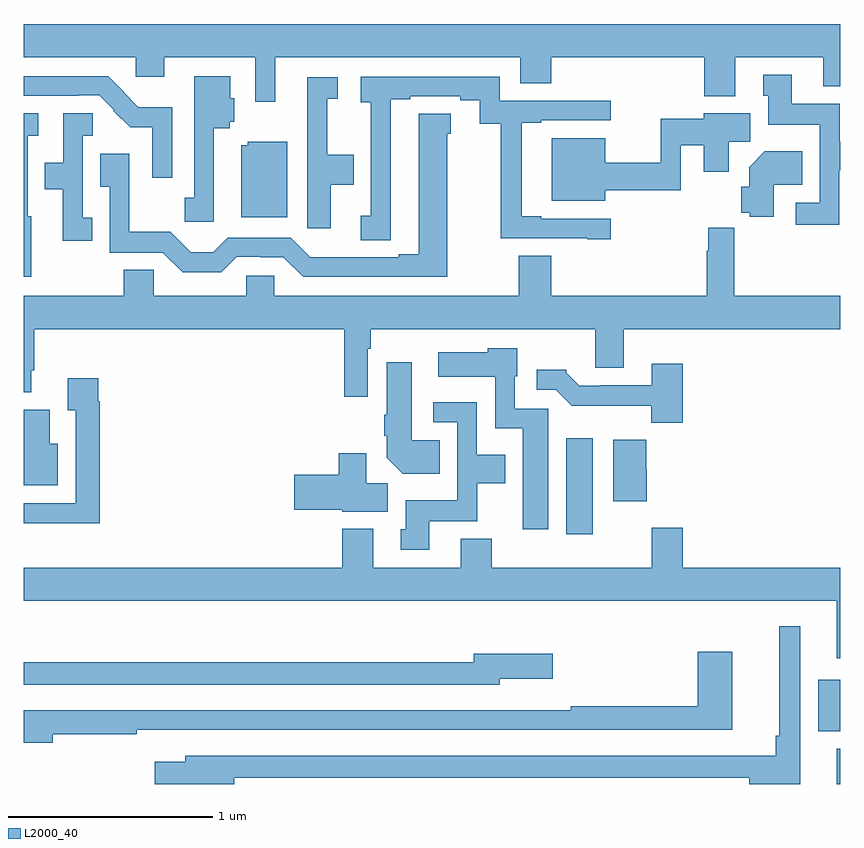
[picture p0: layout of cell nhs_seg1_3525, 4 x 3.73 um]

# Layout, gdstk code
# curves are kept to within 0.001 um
import gdstk
lib = gdstk.Library(unit=1e-6, precision=1e-09)
def R(c, l, rs):  # rectangles x0, y0, x1, y1
    for r in rs: c.add(gdstk.rectangle(r[:2], r[2:], *l))
def P(c, l, *ps):  # polygons
    for p in ps: c.add(gdstk.Polygon(p, *l))
L2000_40 = (2000, 40)

nhs_seg1_3525 = lib.new_cell('nhs_seg1_3525')
R(nhs_seg1_3525, L2000_40, [(306.983,520.199,307,520.372), (306.893,520.457,307,520.711), (305.657,521.424,305.788,521.893)])
P(nhs_seg1_3525, L2000_40, [(304.231,523.76),(305.432,523.76),(305.432,523.633),(305.585,523.633),(305.585,523.76),(306.335,523.76),(306.335,523.571),(306.487,523.571),(306.487,523.76),(306.917,523.76),(306.917,523.619),(307,523.619),(307,523.924),(303,523.924),(303,523.76),(303.549,523.76),(303.549,523.665),(303.688,523.665),(303.688,523.76),(304.134,523.76),(304.134,523.542),(304.231,523.542)],
  [(306.996,523.208),(307,523.208),(307,523.348),(306.999,523.348),(306.999,523.534),(306.763,523.534),(306.763,523.675),(306.623,523.675),(306.623,523.572),(306.647,523.572),(306.647,523.43),(306.9,523.43),(306.9,523.047),(306.783,523.047),(306.783,522.939),(306.996,522.939)],
  [(303.931,523.412),(304.008,523.412),(304.008,523.446),(304.03,523.446),(304.03,523.56),(304.012,523.56),(304.012,523.669),(303.834,523.669),(303.834,523.073),(303.789,523.073),(303.789,522.954),(303.931,522.954)],
  [(303.726,523.516),(303.561,523.516),(303.488,523.589),(303.49,523.591),(303.412,523.668),(303,523.668),(303,523.572),(303.269,523.572),(303.269,523.575),(303.369,523.575),(303.441,523.503),(303.438,523.5),(303.521,523.418),(303.63,523.418),(303.63,523.17),(303.726,523.17)],
  [(304.797,522.973),(304.798,522.973),(304.798,523.554),(304.894,523.554),(304.894,523.569),(305.138,523.569),(305.138,523.551),(305.234,523.551),(305.234,523.436),(305.338,523.436),(305.338,522.873),(305.762,522.873),(305.762,522.868),(305.875,522.868),(305.875,522.969),(305.536,522.969),(305.536,522.982),(305.44,522.982),(305.44,523.44),(305.536,523.44),(305.536,523.452),(305.875,523.452),(305.875,523.548),(305.331,523.548),(305.331,523.665),(304.65,523.665),(304.65,523.541),(304.701,523.541),(304.701,522.984),(304.65,522.984),(304.65,522.865),(304.797,522.865)],
  [(304.504,523.135),(304.616,523.135),(304.616,523.282),(304.487,523.282),(304.487,523.557),(304.537,523.557),(304.537,523.663),(304.388,523.663),(304.388,522.924),(304.504,522.924)],
  [(303.335,522.974),(303.288,522.974),(303.288,523.376),(303.337,523.376),(303.337,523.487),(303.192,523.487),(303.192,523.243),(303.103,523.243),(303.103,523.114),(303.191,523.114),(303.191,522.861),(303.335,522.861)],
  [(303.037,522.981),(303.018,522.981),(303.018,523.376),(303.07,523.376),(303.07,523.487),(303,523.487),(303,522.684),(303.037,522.684)],
  [(305.848,523.108),(306.219,523.108),(306.219,523.33),(306.332,523.33),(306.332,523.2),(306.454,523.2),(306.454,523.348),(306.559,523.348),(306.559,523.486),(306.332,523.486),(306.332,523.459),(306.121,523.459),(306.121,523.244),(305.848,523.244),(305.848,523.363),(305.588,523.363),(305.588,523.058),(305.848,523.058)],
  [(305.074,523.386),(305.092,523.386),(305.092,523.484),(304.935,523.484),(304.934,522.795),(304.838,522.795),(304.838,522.78),(304.403,522.781),(304.308,522.876),(303.999,522.876),(303.928,522.805),(303.818,522.805),(303.718,522.905),(303.516,522.905),(303.516,523.288),(303.373,523.288),(303.373,523.127),(303.42,523.127),(303.42,522.804),(303.681,522.804),(303.778,522.707),(303.968,522.707),(304.044,522.783),(304.157,522.783),(304.157,522.78),(304.272,522.78),(304.368,522.684),(305.074,522.684)],
  [(304.291,523.348),(304.098,523.348),(304.098,523.33),(304.064,523.33),(304.064,522.977),(304.291,522.977)],
  [(306.676,523.136),(306.815,523.136),(306.815,523.3),(306.632,523.3),(306.554,523.222),(306.554,523.126),(306.516,523.126),(306.516,522.998),(306.558,522.998),(306.558,522.979),(306.676,522.979)],
  [(305.585,522.788),(305.425,522.788),(305.425,522.592),(304.227,522.592),(304.227,522.69),(304.089,522.69),(304.089,522.592),(303.636,522.592),(303.636,522.719),(303.49,522.719),(303.49,522.592),(303,522.592),(303,522.119),(303.037,522.119),(303.037,522.226),(303.05,522.226),(303.05,522.428),(304.57,522.428),(304.57,522.096),(304.686,522.096),(304.686,522.332),(304.699,522.332),(304.699,522.428),(305.801,522.428),(305.801,522.238),(305.941,522.238),(305.941,522.428),(307,522.428),(307,522.592),(306.482,522.592),(306.482,522.812),(306.481,522.812),(306.481,522.925),(306.354,522.925),(306.354,522.812),(306.346,522.812),(306.346,522.592),(305.585,522.592)],
  [(305.569,522.039),(305.406,522.039),(305.406,522.198),(305.419,522.198),(305.419,522.334),(305.274,522.334),(305.274,522.316),(305.031,522.316),(305.031,522.194),(305.31,522.194),(305.31,521.942),(305.444,521.942),(305.444,521.448),(305.569,521.448)],
  [(305.039,521.884),(304.9,521.884),(304.9,522.265),(304.778,522.265),(304.778,522.008),(304.766,522.008),(304.766,521.905),(304.778,521.905),(304.778,521.798),(304.856,521.72),(305.039,521.72)],
  [(306.23,522.259),(306.077,522.259),(306.077,522.153),(305.821,522.153),(305.821,522.15),(305.722,522.15),(305.658,522.214),(305.658,522.229),(305.514,522.229),(305.514,522.132),(305.607,522.132),(305.686,522.054),(306.075,522.054),(306.075,521.969),(306.23,521.969)],
  [(303.371,522.074),(303.364,522.074),(303.364,522.187),(303.215,522.187),(303.215,522.031),(303.255,522.031),(303.255,521.574),(303,521.574),(303,521.478),(303.079,521.478),(303.079,521.477),(303.371,521.477)],
  [(304.987,521.486),(305.223,521.486),(305.223,521.672),(305.359,521.672),(305.359,521.812),(305.22,521.812),(305.22,522.069),(305.007,522.069),(305.007,521.973),(305.124,521.973),(305.124,521.59),(304.871,521.59),(304.871,521.448),(304.847,521.448),(304.847,521.346),(304.987,521.346)],
  [(303.166,521.866),(303.127,521.866),(303.127,522.034),(303,522.034),(303,521.663),(303.166,521.663)],
  [(306.052,521.739),(306.05,521.739),(306.05,521.887),(305.888,521.887),(305.888,521.586),(306.052,521.586)],
  [(304.783,521.672),(304.678,521.672),(304.678,521.821),(304.544,521.821),(304.544,521.714),(304.326,521.714),(304.326,521.543),(304.56,521.543),(304.56,521.534),(304.783,521.534)],
  [(307,521.26),(306.23,521.26),(306.23,521.455),(306.077,521.455),(306.077,521.26),(305.294,521.26),(305.294,521.401),(305.141,521.401),(305.141,521.26),(304.711,521.26),(304.711,521.449),(304.559,521.449),(304.559,521.26),(303,521.26),(303,521.096),(306.983,521.096),(306.983,520.815),(307,520.815)],
  [(304.03,520.23),(306.554,520.23),(306.554,520.199),(306.805,520.199),(306.805,520.972),(306.701,520.972),(306.701,520.435),(306.684,520.435),(306.684,520.338),(303.791,520.338),(303.791,520.309),(303.642,520.309),(303.642,520.199),(304.03,520.199)],
  [(303.142,520.444),(303.554,520.444),(303.554,520.464),(306.472,520.464),(306.472,520.846),(306.302,520.846),(306.302,520.58),(305.68,520.58),(305.68,520.561),(305.428,520.561),(305.428,520.56),(303,520.56),(303,520.402),(303.142,520.402)],
  [(305.332,520.715),(305.593,520.715),(305.593,520.837),(305.204,520.837),(305.204,520.795),(303,520.795),(303,520.686),(305.332,520.686)])

lib.write_gds('nhs_seg1_3525.gds')
